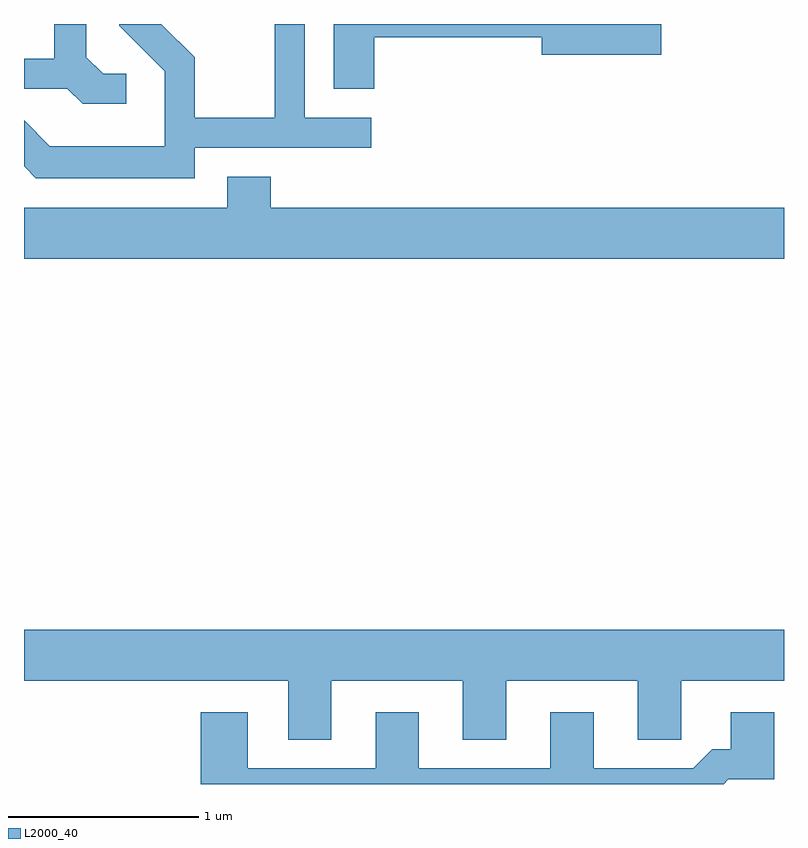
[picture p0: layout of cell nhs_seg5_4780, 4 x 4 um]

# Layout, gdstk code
import gdstk
lib = gdstk.Library(unit=1e-6, precision=1e-09)
def P(c, l, *ps):  # polygons
    for p in ps: c.add(gdstk.Polygon(p, *l))
L2000_40 = (2000, 40)

nhs_seg5_4780 = lib.new_cell('nhs_seg5_4780')
P(nhs_seg5_4780, L2000_40, [(328.509,1417.421),(329.438,1417.421),(329.438,1417.579),(329.089,1417.579),(329.089,1418.072),(328.931,1418.072),(328.931,1417.579),(328.509,1417.579),(328.509,1417.897),(328.334,1418.072),(328.111,1418.072),(328.111,1418.064),(328.351,1417.824),(328.351,1417.429),(327.747,1417.429),(327.611,1417.565),(327.611,1417.324),(327.674,1417.261),(328.509,1417.261)],
  [(329.454,1418.001),(330.336,1418.001),(330.336,1417.911),(330.964,1417.911),(330.964,1418.072),(329.241,1418.072),(329.241,1417.731),(329.454,1417.731)],
  [(328.148,1417.809),(328.027,1417.809),(327.939,1417.897),(327.939,1418.072),(327.771,1418.072),(327.771,1417.889),(327.611,1417.889),(327.611,1417.731),(327.839,1417.731),(327.919,1417.651),(328.148,1417.651)],
  [(331.611,1417.104),(328.909,1417.104),(328.909,1417.269),(328.681,1417.269),(328.681,1417.104),(327.611,1417.104),(327.611,1416.836),(331.611,1416.836)],
  [(329.229,1414.616),(329.921,1414.616),(329.921,1414.306),(330.149,1414.306),(330.149,1414.616),(330.841,1414.616),(330.841,1414.306),(331.069,1414.306),(331.069,1414.616),(331.611,1414.616),(331.611,1414.884),(327.611,1414.884),(327.611,1414.616),(329.001,1414.616),(329.001,1414.306),(329.229,1414.306)],
  [(331.317,1414.096),(331.559,1414.096),(331.559,1414.449),(331.331,1414.449),(331.331,1414.254),(331.234,1414.254),(331.134,1414.154),(330.609,1414.154),(330.609,1414.449),(330.381,1414.449),(330.381,1414.154),(329.689,1414.154),(329.689,1414.449),(329.461,1414.449),(329.461,1414.154),(328.789,1414.154),(328.789,1414.449),(328.541,1414.449),(328.541,1414.072),(331.293,1414.072)])

lib.write_gds('nhs_seg5_4780.gds')
